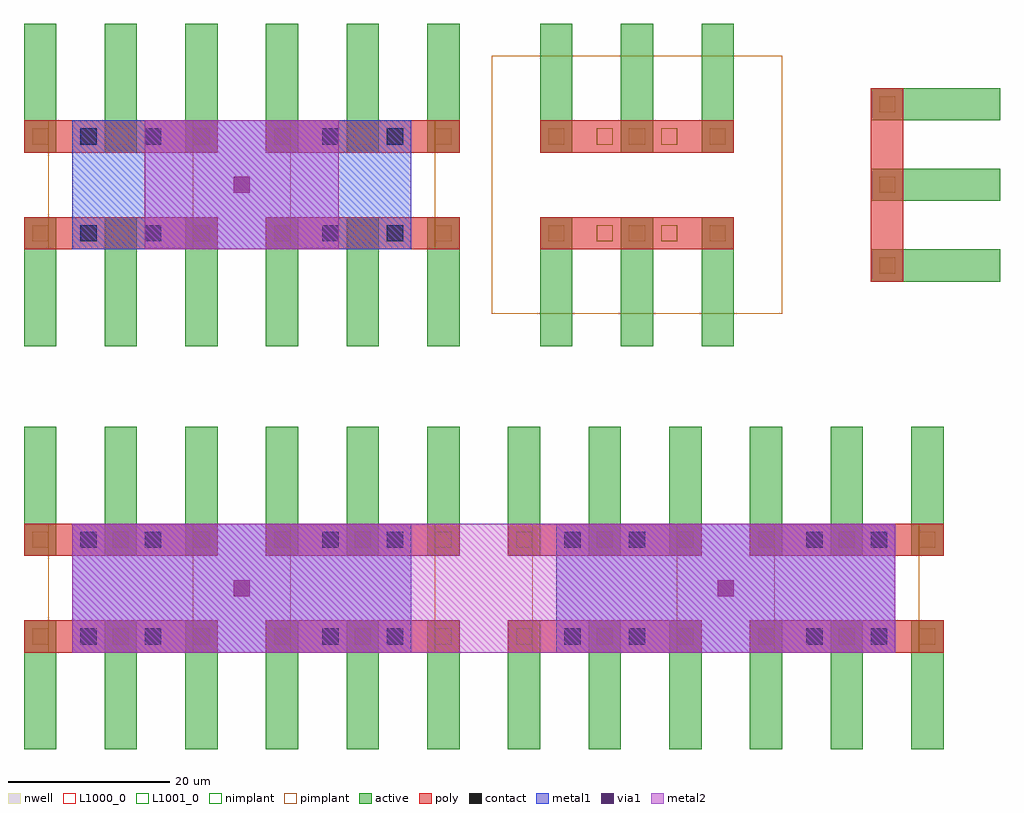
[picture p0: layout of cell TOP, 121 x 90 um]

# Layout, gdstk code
from math import pi, radians
import gdstk
lib = gdstk.Library(unit=1e-6, precision=1e-09)
def R(c, l, rs):  # rectangles x0, y0, x1, y1
    for r in rs: c.add(gdstk.rectangle(r[:2], r[2:], *l))
def A(c, l, x, y, w, h, nx, ny, dx, dy):  # array of equal rectangles
    R(c, l, [(x+i*dx, y+j*dy, x+i*dx+w, y+j*dy+h) for i in range(nx) for j in range(ny)])
active = (1, 0)
nwell = (2, 0)
poly = (3, 0)
nimplant = (4, 0)
pimplant = (5, 0)
contact = (6, 0)
metal1 = (7, 0)
via1 = (8, 0)
metal2 = (9, 0)
L1000_0 = (1000, 0)
L1001_0 = (1001, 0)

c_a = lib.new_cell('A')
R(c_a, active, [(-2,-11,2,5)])
R(c_a, nwell, [(-1,2,1,4)])

c_b = lib.new_cell('B')
R(c_b, poly, [(-12,-2,12,2)])
r = gdstk.Reference(c_a, (0,3), rotation=pi); r.repetition = gdstk.Repetition(1, 1, v1=(0,0), v2=(0,0)); c_b.add(r)
r = gdstk.Reference(c_a, (10,3), rotation=pi); r.repetition = gdstk.Repetition(1, 1, v1=(0,0), v2=(0,0)); c_b.add(r)
r = gdstk.Reference(c_a, (-10,3), rotation=pi); r.repetition = gdstk.Repetition(1, 1, v1=(0,0), v2=(0,0)); c_b.add(r)

c_c = lib.new_cell('C')
R(c_c, nimplant, [(-5,-1,-3,1), (3,-1,5,1), (-5,11,-3,13), (3,11,5,13)])
R(c_c, pimplant, [(-9,-2,9,14)])
r = gdstk.Reference(c_b, (0,12)); r.repetition = gdstk.Repetition(1, 1, v1=(0,0), v2=(0,0)); c_c.add(r)
r = gdstk.Reference(c_b, (0,0), rotation=pi); r.repetition = gdstk.Repetition(1, 1, v1=(0,0), v2=(0,0)); c_c.add(r)

c_d = lib.new_cell('D')
R(c_d, contact, [(-5,-7,-3,-5), (3,-7,5,-5), (25,-7,27,-5), (33,-7,35,-5), (-5,5,-3,7), (3,5,5,7), (25,5,27,7), (33,5,35,7)])
R(c_d, metal1, [(-6,-8,36,8)])
R(c_d, via1, [(14,-1,16,1)])
r = gdstk.Reference(c_c, (0,-6)); r.repetition = gdstk.Repetition(1, 1, v1=(0,0), v2=(0,0)); c_d.add(r)
r = gdstk.Reference(c_c, (30,-6)); r.repetition = gdstk.Repetition(1, 1, v1=(0,0), v2=(0,0)); c_d.add(r)

top = lib.new_cell('TOP')
R(top, pimplant, [(-2,34,34,66)])
R(top, metal2, [(-54,-8,48,8), (-45,42,-21,58)])
A(top, L1000_0, -60, -20, 4, 16, 12, 2, 10, 24)
A(top, L1000_0, -60, 30, 4, 16, 6, 2, 10, 24)
A(top, L1000_0, 4, 30, 4, 16, 3, 2, 10, 24)
A(top, L1000_0, 45, 38, 16, 4, 1, 3, 0, 10)
A(top, L1001_0, -60, -20, 4, 16, 12, 2, 10, 24)
A(top, L1001_0, 4, 30, 4, 16, 3, 2, 10, 24)
r = gdstk.Reference(c_d, (-48,0)); r.repetition = gdstk.Repetition(1, 1, v1=(0,0), v2=(0,0)); top.add(r)
r = gdstk.Reference(c_d, (42,0), rotation=pi); r.repetition = gdstk.Repetition(1, 1, v1=(0,0), v2=(0,0)); top.add(r)
r = gdstk.Reference(c_d, (-18,50), rotation=pi); r.repetition = gdstk.Repetition(1, 1, v1=(0,0), v2=(0,0)); top.add(r)
r = gdstk.Reference(c_c, (16,56), rotation=pi); r.repetition = gdstk.Repetition(1, 1, v1=(0,0), v2=(0,0)); top.add(r)
r = gdstk.Reference(c_b, (47,50), rotation=3*pi/2); r.repetition = gdstk.Repetition(1, 1, v1=(0,0), v2=(0,0)); top.add(r)

lib.write_gds('TOP.gds')
